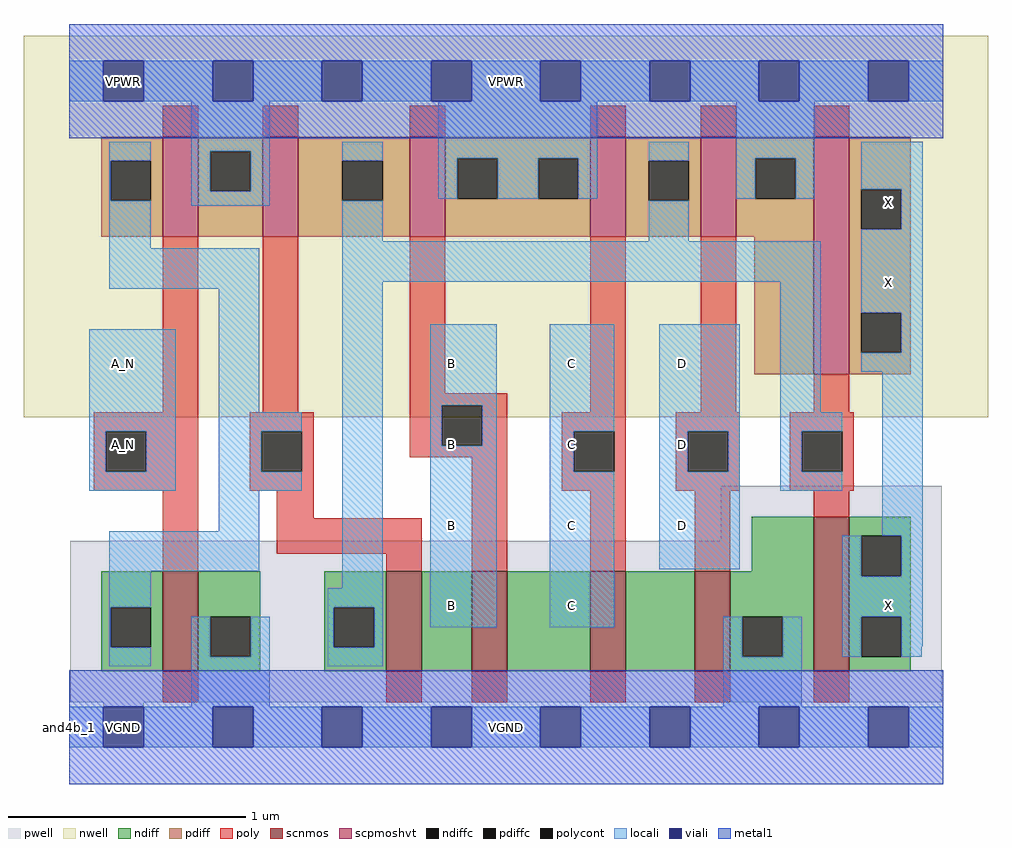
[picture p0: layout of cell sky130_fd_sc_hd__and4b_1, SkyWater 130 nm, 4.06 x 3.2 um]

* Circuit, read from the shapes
.subckt sky130_fd_sc_hd__and4b_1 A_N B C D VGND VNB VPB VPWR X
XM1 VGND A_N n1 VNB sky130_fd_pr__nfet_01v8 w=0.42 l=0.15
XM2 n2 n1 n3 VNB sky130_fd_pr__nfet_01v8 w=0.42 l=0.15
XM3 n4 B n2 VNB sky130_fd_pr__nfet_01v8 w=0.42 l=0.15
XM4 n5 C n4 VNB sky130_fd_pr__nfet_01v8 w=0.42 l=0.15
XM5 VGND D n5 VNB sky130_fd_pr__nfet_01v8 w=0.42 l=0.15
XM6 X n3 VGND VNB sky130_fd_pr__nfet_01v8 w=0.65 l=0.15
XM7 VPWR A_N n1 VPB sky130_fd_pr__pfet_01v8_hvt w=0.42 l=0.15
XM8 n3 n1 VPWR VPB sky130_fd_pr__pfet_01v8_hvt w=0.42 l=0.15
XM9 VPWR B n3 VPB sky130_fd_pr__pfet_01v8_hvt w=0.42 l=0.15
XM10 n3 C VPWR VPB sky130_fd_pr__pfet_01v8_hvt w=0.42 l=0.15
XM11 VPWR D n3 VPB sky130_fd_pr__pfet_01v8_hvt w=0.42 l=0.15
XM12 X n3 VPWR VPB sky130_fd_pr__pfet_01v8_hvt w=1 l=0.15
.ends

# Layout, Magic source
magic
tech sky130A
magscale 1 2
<< nwell >>
rect -38 261 774 582
<< pwell >>
rect 549 157 735 203
rect 1 21 735 157
rect 29 -17 63 21
<< scnmos >>
rect 79 47 109 131
rect 267 47 297 131
rect 339 47 369 131
rect 439 47 469 131
rect 527 47 557 131
rect 627 47 657 177
<< scpmoshvt >>
rect 79 413 109 497
rect 163 413 193 497
rect 287 413 317 497
rect 439 413 469 497
rect 532 413 562 497
rect 627 297 657 497
<< ndiff >>
rect 575 131 627 177
rect 27 101 79 131
rect 27 67 35 101
rect 69 67 79 101
rect 27 47 79 67
rect 109 93 161 131
rect 109 59 119 93
rect 153 59 161 93
rect 109 47 161 59
rect 215 101 267 131
rect 215 67 223 101
rect 257 67 267 101
rect 215 47 267 67
rect 297 47 339 131
rect 369 47 439 131
rect 469 47 527 131
rect 557 93 627 131
rect 557 59 567 93
rect 601 59 627 93
rect 557 47 627 59
rect 657 161 709 177
rect 657 127 667 161
rect 701 127 709 161
rect 657 93 709 127
rect 657 59 667 93
rect 701 59 709 93
rect 657 47 709 59
<< pdiff >>
rect 27 477 79 497
rect 27 443 35 477
rect 69 443 79 477
rect 27 413 79 443
rect 109 485 163 497
rect 109 451 119 485
rect 153 451 163 485
rect 109 413 163 451
rect 193 477 287 497
rect 193 443 230 477
rect 264 443 287 477
rect 193 413 287 443
rect 317 479 439 497
rect 317 445 327 479
rect 361 445 395 479
rect 429 445 439 479
rect 317 413 439 445
rect 469 477 532 497
rect 469 443 488 477
rect 522 443 532 477
rect 469 413 532 443
rect 562 479 627 497
rect 562 445 578 479
rect 612 445 627 479
rect 562 413 627 445
rect 577 297 627 413
rect 657 453 709 497
rect 657 419 667 453
rect 701 419 709 453
rect 657 349 709 419
rect 657 315 667 349
rect 701 315 709 349
rect 657 297 709 315
<< ndiffc >>
rect 35 67 69 101
rect 119 59 153 93
rect 223 67 257 101
rect 567 59 601 93
rect 667 127 701 161
rect 667 59 701 93
<< pdiffc >>
rect 35 443 69 477
rect 119 451 153 485
rect 230 443 264 477
rect 327 445 361 479
rect 395 445 429 479
rect 488 443 522 477
rect 578 445 612 479
rect 667 419 701 453
rect 667 315 701 349
<< poly >>
rect 79 497 109 523
rect 163 497 193 523
rect 287 497 317 523
rect 439 497 469 523
rect 532 497 562 523
rect 627 497 657 523
rect 79 265 109 413
rect 163 265 193 413
rect 287 281 317 413
rect 287 271 369 281
rect 21 249 109 265
rect 21 215 31 249
rect 65 215 109 249
rect 21 199 109 215
rect 152 249 206 265
rect 152 215 162 249
rect 196 215 206 249
rect 287 237 314 271
rect 348 237 369 271
rect 439 265 469 413
rect 532 265 562 413
rect 627 265 657 297
rect 287 227 369 237
rect 152 199 206 215
rect 79 131 109 199
rect 175 176 206 199
rect 175 146 297 176
rect 267 131 297 146
rect 339 131 369 227
rect 415 249 469 265
rect 415 215 425 249
rect 459 215 469 249
rect 415 199 469 215
rect 511 249 565 265
rect 511 215 521 249
rect 555 215 565 249
rect 511 199 565 215
rect 607 249 661 265
rect 607 215 617 249
rect 651 215 661 249
rect 607 199 661 215
rect 439 131 469 199
rect 527 131 557 199
rect 627 177 657 199
rect 79 21 109 47
rect 267 21 297 47
rect 339 21 369 47
rect 439 21 469 47
rect 527 21 557 47
rect 627 21 657 47
<< polycont >>
rect 31 215 65 249
rect 162 215 196 249
rect 314 237 348 271
rect 425 215 459 249
rect 521 215 555 249
rect 617 215 651 249
<< locali >>
rect 0 527 29 561
rect 63 527 121 561
rect 155 527 213 561
rect 247 527 305 561
rect 339 527 397 561
rect 431 527 489 561
rect 523 527 581 561
rect 615 527 673 561
rect 707 527 736 561
rect 34 477 69 493
rect 34 443 35 477
rect 34 403 69 443
rect 103 485 169 527
rect 103 451 119 485
rect 153 451 169 485
rect 103 439 169 451
rect 230 477 264 493
rect 311 479 445 527
rect 311 445 327 479
rect 361 445 395 479
rect 429 445 445 479
rect 488 477 522 493
rect 230 409 264 443
rect 562 479 628 527
rect 562 445 578 479
rect 612 445 628 479
rect 667 453 719 493
rect 488 409 522 443
rect 701 419 719 453
rect 34 369 160 403
rect 17 249 90 335
rect 17 215 31 249
rect 65 215 90 249
rect 17 199 90 215
rect 126 265 160 369
rect 230 375 633 409
rect 126 249 196 265
rect 126 215 162 249
rect 126 199 196 215
rect 126 165 160 199
rect 34 131 160 165
rect 34 101 69 131
rect 230 117 264 375
rect 34 67 35 101
rect 218 101 264 117
rect 34 51 69 67
rect 103 59 119 93
rect 153 59 169 93
rect 103 17 169 59
rect 218 67 223 101
rect 257 67 264 101
rect 304 271 360 339
rect 304 237 314 271
rect 348 237 360 271
rect 304 84 360 237
rect 405 249 459 339
rect 405 215 425 249
rect 405 84 459 215
rect 497 249 565 339
rect 497 215 521 249
rect 555 215 565 249
rect 497 133 565 215
rect 599 265 633 375
rect 667 349 719 419
rect 701 315 719 349
rect 667 299 719 315
rect 599 249 651 265
rect 599 215 617 249
rect 599 199 651 215
rect 685 161 719 299
rect 651 127 667 161
rect 701 127 719 161
rect 651 93 719 127
rect 218 51 264 67
rect 551 59 567 93
rect 601 59 617 93
rect 651 59 667 93
rect 701 68 719 93
rect 701 59 718 68
rect 551 17 617 59
rect 0 -17 29 17
rect 63 -17 121 17
rect 155 -17 213 17
rect 247 -17 305 17
rect 339 -17 397 17
rect 431 -17 489 17
rect 523 -17 581 17
rect 615 -17 673 17
rect 707 -17 736 17
<< viali >>
rect 29 527 63 561
rect 121 527 155 561
rect 213 527 247 561
rect 305 527 339 561
rect 397 527 431 561
rect 489 527 523 561
rect 581 527 615 561
rect 673 527 707 561
rect 29 -17 63 17
rect 121 -17 155 17
rect 213 -17 247 17
rect 305 -17 339 17
rect 397 -17 431 17
rect 489 -17 523 17
rect 581 -17 615 17
rect 673 -17 707 17
<< metal1 >>
rect 0 561 736 592
rect 0 527 29 561
rect 63 527 121 561
rect 155 527 213 561
rect 247 527 305 561
rect 339 527 397 561
rect 431 527 489 561
rect 523 527 581 561
rect 615 527 673 561
rect 707 527 736 561
rect 0 496 736 527
rect 0 17 736 48
rect 0 -17 29 17
rect 63 -17 121 17
rect 155 -17 213 17
rect 247 -17 305 17
rect 339 -17 397 17
rect 431 -17 489 17
rect 523 -17 581 17
rect 615 -17 673 17
rect 707 -17 736 17
rect 0 -48 736 -17
<< labels >>
flabel metal1 s 29 -17 63 17 0 FreeSans 200 0 0 0 VGND
port 5 nsew ground bidirectional abutment
flabel metal1 s 29 527 63 561 0 FreeSans 200 0 0 0 VPWR
port 8 nsew power bidirectional abutment
flabel locali s 406 289 440 323 0 FreeSans 200 0 0 0 C
port 3 nsew signal input
flabel locali s 29 289 63 323 0 FreeSans 200 0 0 0 A_N
port 1 nsew signal input
flabel locali s 673 85 707 119 0 FreeSans 200 0 0 0 X
port 9 nsew signal output
flabel locali s 673 357 707 391 0 FreeSans 200 0 0 0 X
port 9 nsew signal output
flabel locali s 673 425 707 459 0 FreeSans 200 0 0 0 X
port 9 nsew signal output
flabel locali s 29 221 63 255 0 FreeSans 200 0 0 0 A_N
port 1 nsew signal input
flabel locali s 500 221 534 255 0 FreeSans 200 0 0 0 D
port 4 nsew signal input
flabel locali s 500 289 534 323 0 FreeSans 200 0 0 0 D
port 4 nsew signal input
flabel locali s 406 85 440 119 0 FreeSans 200 0 0 0 C
port 3 nsew signal input
flabel locali s 406 153 440 187 0 FreeSans 200 0 0 0 C
port 3 nsew signal input
flabel locali s 305 85 339 119 0 FreeSans 200 0 0 0 B
port 2 nsew signal input
flabel locali s 305 153 339 187 0 FreeSans 200 0 0 0 B
port 2 nsew signal input
flabel locali s 305 221 339 255 0 FreeSans 200 0 0 0 B
port 2 nsew signal input
flabel locali s 305 289 339 323 0 FreeSans 200 0 0 0 B
port 2 nsew signal input
flabel locali s 500 153 534 187 0 FreeSans 200 0 0 0 D
port 4 nsew signal input
flabel locali s 406 221 440 255 0 FreeSans 200 0 0 0 C
port 3 nsew signal input
flabel nwell s 29 527 63 561 0 FreeSans 200 0 0 0 VPB
port 7 nsew power bidirectional
flabel pwell s 29 -17 63 17 0 FreeSans 200 0 0 0 VNB
port 6 nsew ground bidirectional
rlabel comment s 0 0 0 0 4 and4b_1
rlabel metal1 s 0 -48 736 48 1 VGND
port 5 nsew ground bidirectional abutment
rlabel metal1 s 0 496 736 592 1 VPWR
port 8 nsew power bidirectional abutment
<< properties >>
string FIXED_BBOX 0 0 736 544
string GDS_END 3042500
string GDS_FILE $PDKPATH/libs.ref/sky130_fd_sc_hd/gds/sky130_fd_sc_hd.gds
string GDS_START 3034946
string LEFclass CORE
string LEFsite unithd
string LEFsymmetry X Y R90
string path 0.000 0.000 18.400 0.000 
<< end >>
